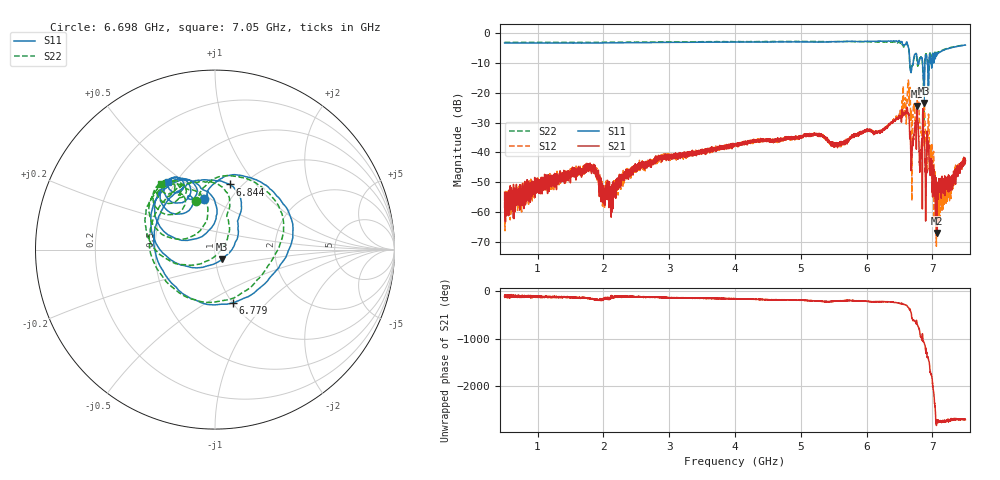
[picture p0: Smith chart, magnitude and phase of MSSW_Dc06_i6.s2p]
!Keysight Technologies,M9374A,MY55442783,A.12.55.05
!Date: Thursday, May 20, 2021 13:45:27
!Correction: S11(Full 2 Port(1,2))
!S21(Full 2 Port(1,2))
!S12(Full 2 Port(1,2))
!S22(Full 2 Port(1,2))
!S2P File: Measurements: S11, S21, S12, S22:
# Hz S  RI  R 50
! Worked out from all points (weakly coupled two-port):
!   7001 points, 500 MHz to 7.5 GHz, reference 50 ohm
!   highest |S21| = -24.34 dB at 6.761 GHz (marker M1); lowest = -67.1 dB at 7.064 GHz (marker M2)
!   lowest |S11| = -23.4 dB at 6.871 GHz (marker M3), VSWR 1.15, Z = 53.9 - j5.84 ohm
!   |S11| at or under -10 dB: 6.654 GHz to 6.706 GHz (51.88 MHz wide, 0.777 % of centre); 6.849 GHz to 6.884 GHz (35.29 MHz wide, 0.514 % of centre); 6.924329 GHz to 6.947451 GHz (23.12 MHz wide, 0.333 % of centre) (the widest 3 of 6)
!   |S22| runs from -31.2 to -2.7 dB; largest |S21 - S12| = 0.17
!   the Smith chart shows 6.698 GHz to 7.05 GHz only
!   S11 on the Smith chart (normalised r, x): 6.698 GHz: 0.76, +0.47; 6.779 GHz: 1.01, -0.66; 6.844 GHz: 0.89, +0.75; 7.05 GHz: 0.46, +0.43
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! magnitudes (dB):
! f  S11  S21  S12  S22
! 500 MHz  -3.2  -53.4  -58.5  -3.0
! 1.667 GHz  -3.2  -47.8  -46.2  -3.0
! 1.846 GHz  -3.2  -45.2  -45.9  -3.0
! 1.992 GHz  -3.2  -53.7  -55.5  -3.0
! 2.111 GHz  -3.2  -57.6  -58.8  -3.0
! 2.344 GHz  -3.1  -47.0  -47.1  -2.9
! 2.834 GHz  -3.1  -42.0  -42.0  -2.9
! 4 GHz  -2.9  -37.7  -37.2  -2.8
! 5.167 GHz  -2.9  -33.8  -34.3  -2.7
! 5.551 GHz  -2.8  -37.1  -37.3  -2.8
! 6.334 GHz  -2.5  -30.8  -30.7  -2.8
! 6.609 GHz  -2.9  -25.4  -24.8  -3.3
! 6.698 GHz  -10.8  -35.7  -28.1  -10.8
! 6.761 GHz  -7.5  -24.3  -28.9  -8.4
! 6.779 GHz  -10.1  -29.6  -19.1  -10.8
! 6.813 GHz  -8.4  -42.7  -31.8  -8.2
! 6.844 GHz  -8.6  -36.6  -32.9  -8.7
! 6.871 GHz  -23.4  -33.6  -23.2  -31.2
! 6.963 GHz  -6.9  -45.2  -40.2  -6.6
! 7.05 GHz  -6.8  -59.9  -50.1  -6.5
! 7.064 GHz  -6.9  -67.1  -53.1  -6.5
! 7.5 GHz  -3.9  -42.7  -43.2  -3.9
